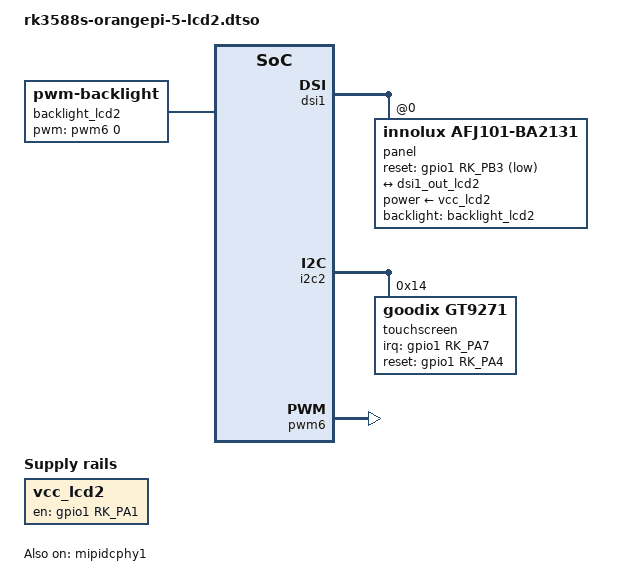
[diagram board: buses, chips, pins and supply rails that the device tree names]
// SPDX-License-Identifier: (GPL-2.0+ OR MIT)
/*
 * Orange Pi 10.1" MIPI LCD (Innolux AFJ101-BA2131, ILI9881C, 800x1280,
 * Goodix GT9271 touch) on the LCD2 connector of the Orange Pi 5.
 *
 * LCD2 is wired to DSI1 and MIPI DCPHY1. The connector signals are taken
 * from the Orange Pi BSP device trees (rk3588s-orangepi-5-lcd.dtsi and
 * rk3588s-orangepi-5.dtsi in orangepi-xunlong/linux-orangepi):
 *   LCD power enable: GPIO1_A1, panel reset: GPIO1_B3 (active low),
 *   backlight PWM: PWM6_M0 (GPIO0_C7),
 *   touch: I2C2_M0 (shared with the vdd_npu_s0 regulator), INT GPIO1_A7,
 *   RESET GPIO1_A4.
 */

/dts-v1/;
/plugin/;

#include <dt-bindings/gpio/gpio.h>
#include <dt-bindings/interrupt-controller/irq.h>
#include <dt-bindings/pinctrl/rockchip.h>
#include <dt-bindings/soc/rockchip,vop2.h>

&{/} {
	backlight_lcd2: backlight-lcd2 {
		compatible = "pwm-backlight";
		pwms = <&pwm6 0 25000 0>;
	};

	vcc_lcd2: regulator-vcc-lcd2 {
		compatible = "regulator-fixed";
		enable-active-high;
		gpios = <&gpio1 RK_PA1 GPIO_ACTIVE_HIGH>;
		pinctrl-names = "default";
		pinctrl-0 = <&lcd2_pwr_en>;
		regulator-name = "vcc_lcd2";
	};
};

&dsi1 {
	#address-cells = <1>;
	#size-cells = <0>;
	status = "okay";

	panel@0 {
		compatible = "innolux,afj101-ba2131", "ilitek,ili9881c";
		reg = <0>;
		backlight = <&backlight_lcd2>;
		pinctrl-names = "default";
		pinctrl-0 = <&lcd2_rst>;
		power-supply = <&vcc_lcd2>;
		reset-gpios = <&gpio1 RK_PB3 GPIO_ACTIVE_LOW>;

		port {
			lcd2_panel_in: endpoint {
				remote-endpoint = <&dsi1_out_lcd2>;
			};
		};
	};
};

&dsi1_in {
	dsi1_in_vp2: endpoint {
		remote-endpoint = <&vp2_out_dsi1>;
	};
};

&dsi1_out {
	dsi1_out_lcd2: endpoint {
		remote-endpoint = <&lcd2_panel_in>;
	};
};

&i2c2 {
	#address-cells = <1>;
	#size-cells = <0>;
	status = "okay";

	touchscreen@14 {
		compatible = "goodix,gt9271";
		reg = <0x14>;
		interrupt-parent = <&gpio1>;
		interrupts = <RK_PA7 IRQ_TYPE_LEVEL_LOW>;
		irq-gpios = <&gpio1 RK_PA7 GPIO_ACTIVE_HIGH>;
		pinctrl-names = "default";
		pinctrl-0 = <&lcd2_touch_int &lcd2_touch_rst>;
		reset-gpios = <&gpio1 RK_PA4 GPIO_ACTIVE_HIGH>;
		touchscreen-inverted-x;
		touchscreen-size-x = <1280>;
		touchscreen-size-y = <800>;
		touchscreen-swapped-x-y;
	};
};

&mipidcphy1 {
	status = "okay";
};

&pinctrl {
	lcd2 {
		lcd2_pwr_en: lcd2-pwr-en {
			rockchip,pins = <1 RK_PA1 RK_FUNC_GPIO &pcfg_pull_none>;
		};

		lcd2_rst: lcd2-rst {
			rockchip,pins = <1 RK_PB3 RK_FUNC_GPIO &pcfg_pull_none>;
		};

		lcd2_touch_int: lcd2-touch-int {
			rockchip,pins = <1 RK_PA7 RK_FUNC_GPIO &pcfg_pull_none>;
		};

		lcd2_touch_rst: lcd2-touch-rst {
			rockchip,pins = <1 RK_PA4 RK_FUNC_GPIO &pcfg_pull_none>;
		};
	};
};

&pwm6 {
	status = "okay";
};

&vp2 {
	#address-cells = <1>;
	#size-cells = <0>;

	vp2_out_dsi1: endpoint@ROCKCHIP_VOP2_EP_MIPI1 {
		reg = <ROCKCHIP_VOP2_EP_MIPI1>;
		remote-endpoint = <&dsi1_in_vp2>;
	};
};
